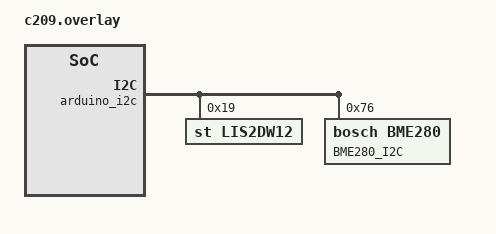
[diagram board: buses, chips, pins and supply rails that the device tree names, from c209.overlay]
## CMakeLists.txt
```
# Copyright 2021 u-blox
# 
# Licensed under the Apache License, Version 2.0 (the "License");
# you may not use this file except in compliance with the License.
# You may obtain a copy of the License at
# 
#  http://www.apache.org/licenses/LICENSE-2.0
# 
# Unless required by applicable law or agreed to in writing, software
# distributed under the License is distributed on an "AS IS" BASIS,
# WITHOUT WARRANTIES OR CONDITIONS OF ANY KIND, either express or implied.
# See the License for the specific language governing permissions and
# limitations under the License.

cmake_minimum_required(VERSION 3.13.1)

list(APPEND DTC_OVERLAY_FILE ${CMAKE_CURRENT_SOURCE_DIR}/c209.overlay)

set(CONF_FILE ${CMAKE_CURRENT_SOURCE_DIR}/prj.conf)
if(DEFINED RELEASE)
  message("RELEASE BUILD")
  add_definitions("-DRELEASE=${RELEASE}")
  list(APPEND CONF_FILE ${CMAKE_CURRENT_SOURCE_DIR}/prj_release.conf)
else()
  message("DEBUG BUILD")
  add_definitions("-DDEBUG=${DEBUG}")
  list(APPEND CONF_FILE ${CMAKE_CURRENT_SOURCE_DIR}/prj_debug.conf)
endif()

if(DEFINED NRF_DFU_BOOT_SUPPORT)
message("NRF_DFU_BOOT_SUPPORT BUILD")
add_definitions("-DNRF_DFU_BOOT_SUPPORT=${NRF_DFU_BOOT_SUPPORT}")
list(APPEND CONF_FILE ${CMAKE_CURRENT_SOURCE_DIR}/prj_dfu_boot.conf)
list(APPEND DTC_OVERLAY_FILE ${CMAKE_CURRENT_SOURCE_DIR}/c209_nrf_boot.overlay)
endif()

if(DEFINED MCUBOOT_BOOT_SUPPORT)
message("MCUBOOT_BOOT_SUPPORT BUILD")
add_definitions("-DMCUBOOT_BOOT_SUPPORT=${MCUBOOT_BOOT_SUPPORT}")
list(APPEND CONF_FILE ${CMAKE_CURRENT_SOURCE_DIR}/ci/testable.conf)
list(APPEND DTC_OVERLAY_FILE ${CMAKE_CURRENT_SOURCE_DIR}/ci/c209_mcuboot.overlay)
endif()

# For applying SDK patches automatically on build.
function(applyGitPatchFiles patchFolder applyDir)
  message("Applying git patches from ${patchFolder} in directory ${applyDir}")
  file(GLOB PATCHES ${patchFolder})
  if (PATCHES)
    message(STATUS "Patches: ${PATCHES}")
    foreach(PATCH ${PATCHES})
      message(STATUS "Applying ${PATCH}")
      execute_process(
        COMMAND git apply -p1 --ignore-whitespace
        WORKING_DIRECTORY "${applyDir}"
        INPUT_FILE "${PATCH}"
        OUTPUT_VARIABLE OUTPUT
        RESULT_VARIABLE RESULT)
      if (RESULT EQUAL 0)
        message(STATUS "Patch applied: ${PATCH}")
      else()
        # Unfortunately although patch will recognise that a patch is already
        # applied it will still return an error.
        execute_process(
          COMMAND git apply -p1 --reverse --check --ignore-whitespace
          WORKING_DIRECTORY "${applyDir}"
          INPUT_FILE "${PATCH}"
          OUTPUT_VARIABLE OUTPUT
          RESULT_VARIABLE RESULT2)
        if (RESULT2 EQUAL 0)
          message(STATUS "Patch was already applied, ignore errors above: ${PATCH}")
        else()
          message(FATAL_ERROR "Error applying patch ${PATCH}")
        endif()
      endif()
    endforeach(PATCH)
  endif()
endfunction()

applyGitPatchFiles("${CMAKE_SOURCE_DIR}/sdk-patches/zephyr/*.patch" "$ENV{ZEPHYR_BASE}/")

find_package(Zephyr HINTS $ENV{ZEPHYR_BASE})
project(direction_finding_beacon)

FILE(GLOB app_sources src/*.c)
target_sources(app PRIVATE ${app_sources})
target_sources(app PRIVATE ubx_version.c)

zephyr_library_include_directories(${ZEPHYR_BASE}/samples/bluetooth)

# Get git commit and  build time and pass it to version_config.h

execute_process(COMMAND
  git describe --always --dirty
  WORKING_DIRECTORY "${CMAKE_SOURCE_DIR}"
  OUTPUT_VARIABLE GIT_SHA1
  ERROR_QUIET OUTPUT_STRIP_TRAILING_WHITESPACE)

string(TIMESTAMP BUILD_TIME "%Y-%d-%m %H:%M")

message("GIT commit: ${GIT_SHA1}")
message("Build time: ${BUILD_TIME}")

add_definitions("-DGIT_SHA1=${GIT_SHA1}")
add_definitions("-DBUILD_TIME=${BUILD_TIME}")

configure_file(version_config.h.in ${CMAKE_BINARY_DIR}/generated/version_config.h)
include_directories( ${CMAKE_BINARY_DIR}/generated/)

target_compile_options(app PRIVATE -Wall -Werror -Wno-stringop-truncationw)
```

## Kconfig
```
# Copyright 2021 u-blox
# 
# Licensed under the Apache License, Version 2.0 (the "License");
# you may not use this file except in compliance with the License.
# You may obtain a copy of the License at
# 
#  http://www.apache.org/licenses/LICENSE-2.0
# 
# Unless required by applicable law or agreed to in writing, software
# distributed under the License is distributed on an "AS IS" BASIS,
# WITHOUT WARRANTIES OR CONDITIONS OF ANY KIND, either express or implied.
# See the License for the specific language governing permissions and
# limitations under the License.

menu "AoA Tag"

endmenu

menu "Zephyr Kernel"
source "Kconfig.zephyr"
endmenu

menu "AoA Tag"
    config SEND_SENSOR_DATA_IN_PER_ADV_DATA
        bool
    prompt "Sensor data in periodic adv data"
    help
        "Send periodic advertising data containing sensor data."
    default n

    config ALLOW_REMOTE_AT_OVER_NUS
        bool
    prompt "Enable AT over NUS"
    select BT_NUS
    default n
    help
        "Add the NUS service and accept AT commands over it."

    config PERIODIC_LED_BLINK
        bool
    prompt "Blink the blue"
    help
        "Periodically blink the blue LED  to indicate tag is running."
    default y

    config EXT_ADV_INT_MS_MIN
        int
    prompt "Minimum extended advertising interval in milliseconds."
    help
        "This is how often extended advertisements are sent, this is a tradeoff in power consumption and how fast/easy it is for the scanner to find the tag and initiate a periodic advertsing sync. to it."
    default 250
    range 32 16384

    config EXT_ADV_INT_MS_MAX
        int
    prompt "Maximum extended advertising interval in milliseconds."
    help
        "This is how often extended advertisements are sent, this is a tradeoff in power consumption and how fast/easy it is for the scanner to find the tag and initiate a periodic advertsing sync. to it."
    default EXT_ADV_INT_MS_MIN
    range EXT_ADV_INT_MS_MIN 16384

    config TESTABLE_BUILD
	    bool
	prompt "Testable build for CI"
	help
		"When enabled, this boolean prevents UART from being
		shut off after 10 seconds of not communicating
		from start. It also disables per. adv. restart each
		10 minutes."
    default n

endmenu

module = APPLICATION_MODULE
module-str = AoA Tag
source "subsys/logging/Kconfig.template.log_config"
```

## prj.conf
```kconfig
# Copyright 2021 u-blox
# 
# Licensed under the Apache License, Version 2.0 (the "License");
# you may not use this file except in compliance with the License.
# You may obtain a copy of the License at
# 
#  http://www.apache.org/licenses/LICENSE-2.0
# 
# Unless required by applicable law or agreed to in writing, software
# distributed under the License is distributed on an "AS IS" BASIS,
# WITHOUT WARRANTIES OR CONDITIONS OF ANY KIND, either express or implied.
# See the License for the specific language governing permissions and
# limitations under the License.

CONFIG_BT_DEVICE_NAME="u-blox C209 DF Tag"
CONFIG_ASSERT=y
CONFIG_BT_ID_MAX=1
CONFIG_BT_CTLR_TX_PWR_PLUS_4=y
CONFIG_BT_CTLR_TX_PWR_DYNAMIC_CONTROL=y

CONFIG_BT=y
CONFIG_BT_MAX_CONN=2
CONFIG_BT_BUF_ACL_RX_SIZE=251
CONFIG_BT_L2CAP_TX_MTU=247

# Extended and periodic advertising
CONFIG_BT_CTLR=y
CONFIG_BT_LL_SW_SPLIT=y

CONFIG_BT_EXT_ADV=y
CONFIG_BT_PER_ADV=y
CONFIG_BT_BROADCASTER=y
CONFIG_BT_PERIPHERAL=y
CONFIG_BT_CTLR_ADV_EXT=y
CONFIG_BT_CTLR_ADV_PERIODIC=y
CONFIG_BT_EXT_ADV_MAX_ADV_SET=2
CONFIG_BT_CTLR_ADV_AUX_SET=2
CONFIG_BT_CTLR_ADV_DATA_CHAIN=y
CONFIG_BT_CTLR_ADV_DATA_LEN_MAX=256

# Enable Direction Finding TX Feature including AoA and AoD
CONFIG_BT_DF=y
CONFIG_BT_CTLR_DF=y
CONFIG_BT_CTLR_DF_ANT_SWITCH_TX=n
CONFIG_BT_CTLR_DF_ANT_SWITCH_RX=n
CONFIG_BT_CTLR_ADVANCED_FEATURES=y
CONFIG_BT_CTLR_ADV_SYNC_PDU_BACK2BACK=y
CONFIG_BT_CTLR_DF_PER_ADV_CTE_NUM_MAX=1

# No external XTAL on C209
CONFIG_CLOCK_CONTROL_NRF_K32SRC_RC=y

CONFIG_MAIN_STACK_SIZE=4096
CONFIG_SYSTEM_WORKQUEUE_STACK_SIZE=4096
CONFIG_BT_RX_STACK_SIZE=2048

CONFIG_NVS=y
CONFIG_FLASH=y
CONFIG_FLASH_PAGE_LAYOUT=y
CONFIG_FLASH_MAP=y
CONFIG_MPU_ALLOW_FLASH_WRITE=y

CONFIG_UART_NRFX=y
CONFIG_UART_ASYNC_API=y
CONFIG_UART_USE_RUNTIME_CONFIGURE=y
CONFIG_SERIAL=y

CONFIG_I2C=y
CONFIG_LIS2DW12=y
CONFIG_BME280=y
CONFIG_GPIO=y
CONFIG_SENSOR=y

CONFIG_PM_DEVICE=y
CONFIG_PM_DEVICE_RUNTIME=y
CONFIG_REBOOT=y

# Application configuration
CONFIG_SEND_SENSOR_DATA_IN_PER_ADV_DATA=n
CONFIG_ALLOW_REMOTE_AT_OVER_NUS=n
CONFIG_PERIODIC_LED_BLINK=y

CONFIG_EXT_ADV_INT_MS_MIN=200
CONFIG_EXT_ADV_INT_MS_MAX=300
```

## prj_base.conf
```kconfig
# Copyright 2021 u-blox
# 
# Licensed under the Apache License, Version 2.0 (the "License");
# you may not use this file except in compliance with the License.
# You may obtain a copy of the License at
# 
#  http://www.apache.org/licenses/LICENSE-2.0
# 
# Unless required by applicable law or agreed to in writing, software
# distributed under the License is distributed on an "AS IS" BASIS,
# WITHOUT WARRANTIES OR CONDITIONS OF ANY KIND, either express or implied.
# See the License for the specific language governing permissions and
# limitations under the License.

CONFIG_BT=y
CONFIG_BT_DEVICE_NAME="C209-AoA-Tag"
CONFIG_BT_LL_SW_SPLIT=y
CONFIG_ASSERT=y
CONFIG_BT_ID_MAX=1
CONFIG_BT_CTLR_TX_PWR_PLUS_4=y
CONFIG_BT_CTLR_TX_PWR_DYNAMIC_CONTROL=y
CONFIG_CLOCK_CONTROL_NRF_K32SRC_RC=y

CONFIG_MAIN_STACK_SIZE=4096
CONFIG_SYSTEM_WORKQUEUE_STACK_SIZE=4096

CONFIG_NVS=y
CONFIG_FLASH=y
CONFIG_FLASH_PAGE_LAYOUT=y
CONFIG_FLASH_MAP=y
CONFIG_MPU_ALLOW_FLASH_WRITE=y

CONFIG_UART_NRFX=y
CONFIG_DEVICE_POWER_MANAGEMENT=y
CONFIG_UART_ASYNC_API=y
CONFIG_SERIAL=y

CONFIG_I2C=y
CONFIG_LIS2DW12=y
CONFIG_BME280=y
CONFIG_GPIO=y
CONFIG_SENSOR=y

CONFIG_ENTROPY_GENERATOR=y
CONFIG_DEVICE_POWER_MANAGEMENT=y

# Build for use with Open Bootloader which is preflashed on NINA-B40X modules
CONFIG_FLASH_BASE_ADDRESS=0x1000
```

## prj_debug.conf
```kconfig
# Copyright 2021 u-blox
#
# Licensed under the Apache License, Version 2.0 (the "License");
# you may not use this file except in compliance with the License.
# You may obtain a copy of the License at
#
#  http://www.apache.org/licenses/LICENSE-2.0
#
# Unless required by applicable law or agreed to in writing, software
# distributed under the License is distributed on an "AS IS" BASIS,
# WITHOUT WARRANTIES OR CONDITIONS OF ANY KIND, either express or implied.
# See the License for the specific language governing permissions and
# limitations under the License.

# SEGGER RTT logging instead of UART
CONFIG_LOG_PRINTK=y
CONFIG_LOG=y
CONFIG_DEBUG_OPTIMIZATIONS=y
CONFIG_USE_SEGGER_RTT=y
CONFIG_RTT_CONSOLE=y
CONFIG_UART_CONSOLE=n
CONFIG_LOG_BACKEND_RTT=y
CONFIG_LOG_BACKEND_UART=n
# End of SEGGER RTT

# This should not be needed but it is for debug builds otherwise in NCS 2.0.0
# we get stack overflows in BT controller.
CONFIG_BT_HCI_TX_STACK_SIZE_WITH_PROMPT=y
CONFIG_BT_HCI_TX_STACK_SIZE=1024
```

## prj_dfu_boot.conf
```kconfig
# Build for use with Open Bootloader which is preflashed on NINA-B40X modules
CONFIG_FLASH_BASE_ADDRESS=0x1000
```

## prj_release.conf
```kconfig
# Copyright 2021 u-blox
# 
# Licensed under the Apache License, Version 2.0 (the "License");
# you may not use this file except in compliance with the License.
# You may obtain a copy of the License at
# 
#  http://www.apache.org/licenses/LICENSE-2.0
# 
# Unless required by applicable law or agreed to in writing, software
# distributed under the License is distributed on an "AS IS" BASIS,
# WITHOUT WARRANTIES OR CONDITIONS OF ANY KIND, either express or implied.
# See the License for the specific language governing permissions and
# limitations under the License.

# SEGGER RTT logging instead of UART
CONFIG_LOG_PRINTK=n
CONFIG_LOG=n
CONFIG_DEBUG_OPTIMIZATIONS=n
CONFIG_USE_SEGGER_RTT=n
CONFIG_RTT_CONSOLE=n
CONFIG_UART_CONSOLE=n
CONFIG_LOG_BACKEND_RTT=n
CONFIG_LOG_BACKEND_UART=n
# End of SEGGER RTT

CONFIG_SPEED_OPTIMIZATIONS=y
CONFIG_RESET_ON_FATAL_ERROR=y
```

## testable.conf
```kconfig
# Copyright 2023 u-blox
# 
# Licensed under the Apache License, Version 2.0 (the "License");
# you may not use this file except in compliance with the License.
# You may obtain a copy of the License at
# 
#  http://www.apache.org/licenses/LICENSE-2.0
# 
# Unless required by applicable law or agreed to in writing, software
# distributed under the License is distributed on an "AS IS" BASIS,
# WITHOUT WARRANTIES OR CONDITIONS OF ANY KIND, either express or implied.
# See the License for the specific language governing permissions and
# limitations under the License.

CONFIG_TESTABLE_BUILD=y
```

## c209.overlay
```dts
&arduino_i2c {
    status = "okay";

    lis2dw12@19 {
		compatible = "st,lis2dw12";
		reg = <0x19>;
		label = "LIS2DW12";
		power-mode = <0>;
	};

	bme280@76 {
		compatible = "bosch,bme280";
		reg = <0x76>;
		label = "BME280_I2C";
	};
};

&pinctrl {
	i2c0_default: i2c0_default {
		group1 {
			psels = <NRF_PSEL(TWIM_SDA, 0, 4)>,
				<NRF_PSEL(TWIM_SCL, 0, 30)>;
		};
	};

	i2c0_sleep: i2c0_sleep {
		group1 {
			psels = <NRF_PSEL(TWIM_SDA, 0, 4)>,
				<NRF_PSEL(TWIM_SCL, 0, 30)>;
			low-power-enable;
		};
	};
};
```

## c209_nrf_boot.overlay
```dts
/* Delete partitions specified on the board dts file */
/delete-node/ &boot_partition;
/delete-node/ &slot0_partition;
/delete-node/ &storage_partition;
/delete-node/ &scratch_partition;
/delete-node/ &slot1_partition;

&flash0 {
	partitions {
		compatible = "fixed-partitions";
		#address-cells = <1>;
		#size-cells = <1>;

		/* Define your partitions here; see below */
		boot_partition: partition@0 {
			label = "mcuboot";
			reg = <0x00000000 0x1000>;
		};
		slot0_partition: partition@1000 {
			label = "image-0";
			reg = <0x00001000 0x6B000>;
		};
		storage_partition: partition@6C000 {
			label = "storage";
			reg = <0x0006C000 0x00004000>;
		};
	};
};

/ {
	chosen {
		zephyr,code-partition = &slot0_partition;
		zephyr,flash = &flash0;
	};
};
```

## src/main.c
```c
/*
 * Copyright 2021 u-blox
 *
 * Licensed under the Apache License, Version 2.0 (the "License");
 * you may not use this file except in compliance with the License.
 * You may obtain a copy of the License at
 *
 *  http://www.apache.org/licenses/LICENSE-2.0
 *
 * Unless required by applicable law or agreed to in writing, software
 * distributed under the License is distributed on an "AS IS" BASIS,
 * WITHOUT WARRANTIES OR CONDITIONS OF ANY KIND, either express or implied.
 * See the License for the specific language governing permissions and
 * limitations under the License.
 */

#include <zephyr/kernel.h>

#include <string.h>
#include <zephyr/bluetooth/bluetooth.h>
#include <zephyr/bluetooth/hci.h>
#include "leds.h"
#include "bt_adv.h"
#include "buttons.h"
#include <zephyr/random/rand32.h>
#include <zephyr/sys/__assert.h>
#include <zephyr/device.h>
#include <zephyr/drivers/sensor.h>
#include "bt_util.h"
#include <zephyr/bluetooth/hci.h>
#include <zephyr/bluetooth/hci_vs.h>
#include <zephyr/sys/byteorder.h>
#include "at_host.h"
#include "storage.h"
#include <zephyr/logging/log.h>
#include "sensors.h"

#if defined(CONFIG_BT_NUS)
#include <bluetooth/services/nus.h>
#endif

LOG_MODULE_REGISTER(app, CONFIG_APPLICATION_MODULE_LOG_LEVEL);

#define BLINK_STACKSIZE         1024
#define BLINK_PRIORITY          7
#define LED_BLINK_INTERVAL_MS   150
#define LOOP_SLEEP_INTERVAL     5000

// In order to avoid accidental collisions between tags we restart adv. every now and then.
// Comment out to disable this.
#ifndef CONFIG_TESTABLE_BUILD
#define ADV_RESTART_INTERVAL    (10 * 60 * 1000) // 10 min
#endif

static void btReadyCb(int err);
static void onButtonPressCb(buttonPressType_t type);
static void setTxPower(uint8_t handleType, uint16_t handle, int8_t txPwrLvl);
static void blink(void);

#if defined(CONFIG_BT_NUS)
static void connected(struct bt_conn *conn, uint8_t err);
static void disconnected(struct bt_conn *conn, uint8_t reason);
static void nus_send_data(char *data);
static void bt_receive_cb(struct bt_conn *conn, const uint8_t *const data, uint16_t len);
BT_CONN_CB_DEFINE(conn_callbacks) = {
    .connected    = connected,
    .disconnected = disconnected,
};
static struct bt_conn *currentConn;
static uint32_t nusMaxSendLen;

static struct bt_nus_cb nus_cb = {
    .received = bt_receive_cb,
};
#endif

static bool isAdvRunning = true;
static uint16_t advIntervals[] = {50, 100, 250, 1000};
static uint8_t advIntervalIndex = 0;
static char *pDefaultGroupNamespace = "NINA-B4TAG";

struct k_timer blinkTimer;
static uint8_t bluetoothReady;
static uint8_t uuid[EDDYSTONE_INSTANCE_ID_LEN];

K_THREAD_DEFINE(blinkThreadId, BLINK_STACKSIZE, blink, NULL, NULL, NULL, BLINK_PRIORITY, 0,
                K_TICKS_FOREVER);

void main(void)
{
    uint8_t randDelayMs;
    bt_addr_le_t addr;

    // If all tags are powered on at once their advertisements may collide.
    // Use a random delay in order to give them some random offset.
    randDelayMs = (uint8_t)(sys_rand32_get() & 0xFF);
    k_msleep(randDelayMs);
    LOG_DBG("Slept %dms", randDelayMs);
    utilGetBtAddr(&addr);
    bluetoothReady = 0;

    storageInit();
    sensorsInit();

    // Only swap public address. It's done like this in u-connect.
    if (addr.type == BT_ADDR_LE_PUBLIC) {
        for (uint8_t i = 0; i < EDDYSTONE_INSTANCE_ID_LEN; i++) {
            uuid[i] = addr.a.val[(EDDYSTONE_INSTANCE_ID_LEN - 1) - i];
        }
    } else {
        memcpy(uuid, addr.a.val, MAC_ADDR_LEN);
    }
    LOG_HEXDUMP_INF(uuid, EDDYSTONE_INSTANCE_ID_LEN, "InstanceId (MAC)");

    atHostStart();

    ledsInit();
    ledsSetState(LED_RED, 0);
    ledsSetState(LED_GREEN, 0);
    ledsSetState(LED_BLUE, 0);

    buttonsInit(&onButtonPressCb);

    __ASSERT(bt_enable(btReadyCb) == 0, "Bluetooth init failed");

#if defined(CONFIG_BT_NUS)
    int err = bt_nus_init(&nus_cb);
    if (err) {
        LOG_ERR("Failed to initialize UART service (err: %d)", err);
        return;
    }
#endif
    k_thread_start(blinkThreadId);
}

static void blink(void)
{
    LOG_INF("Started blink thread");
#ifdef ADV_RESTART_INTERVAL
    uint64_t lastAdvRestartMs = k_uptime_get();
    uint64_t currentTime;
    uint8_t randDelayMs;
#endif
#ifdef CONFIG_SEND_SENSOR_DATA_IN_PER_ADV_DATA
#define NUM_SENSOR_DATA 6
    struct sensor_value temp, press, humidity;
    struct bt_data adData;
    int32_t sensorData[NUM_SENSOR_DATA];
#endif

    while (1) {
#ifdef CONFIG_PERIODIC_LED_BLINK
        if (isAdvRunning) {
            ledsSetState(LED_BLUE, 1);
            k_sleep(K_MSEC(10));
            ledsSetState(LED_BLUE, 0);
        }
#endif
#ifdef ADV_RESTART_INTERVAL
        currentTime = k_uptime_get();
        if (currentTime - lastAdvRestartMs >= ADV_RESTART_INTERVAL) {
            if (isAdvRunning) {
                randDelayMs = (uint8_t)(sys_rand32_get() & 0xFF);
                LOG_INF("Restarting per. adv. to avoid collisions. Delay: %d", randDelayMs);
                btAdvStop();
                k_msleep(randDelayMs);
                btAdvStart();
                lastAdvRestartMs = currentTime;
            }
        }
#endif
#ifdef CONFIG_SEND_SENSOR_DATA_IN_PER_ADV_DATA
        if (isAdvRunning) {
            if (sensorsGetBme280Data(&temp, &press, &humidity)) {
                sensorData[0] = temp.val1;
                sensorData[1] = temp.val2;
                sensorData[2] = press.val1;
                sensorData[3] = press.val2;
                sensorData[4] = humidity.val1;
                sensorData[5] = humidity.val2;
                adData.type = BT_DATA_MANUFACTURER_DATA;
                adData.data = (uint8_t *)sensorData;
                adData.data_len = sizeof(int32_t) * NUM_SENSOR_DATA;
                btAdvSetPerAdvData(&adData, 1);
            }
        }
#endif
        k_msleep(LOOP_SLEEP_INTERVAL);
    }
}


static void btReadyCb(int err)
{
    int8_t txPower = 0;
    __ASSERT(err == 0, "Bluetooth init failed (err %d)", err);
    LOG_INF("Bluetooth initialized");
    bluetoothReady = 1;

    storageGetTxPower(&txPower);
    LOG_INF("Setting TxPower: %d", txPower);
    setTxPower(BT_HCI_VS_LL_HANDLE_TYPE_ADV, 0, txPower);

    btAdvInit(advIntervals[advIntervalIndex], advIntervals[advIntervalIndex], pDefaultGroupNamespace,
              uuid, txPower);
    btAdvStart();
}

static void onButtonPressCb(buttonPressType_t type)
{
    LOG_INF("Pressed, type: %d", type);

    if (type == BUTTONS_SHORT_PRESS) {
        // If stopped, then restart if adv. interval was changed
        isAdvRunning = true;
        advIntervalIndex = (advIntervalIndex + 1) % ARRAY_SIZE(advIntervals);
        uint16_t new_adv_interval = advIntervals[advIntervalIndex];
        LOG_INF("New interval: %d => %d", advIntervalIndex, new_adv_interval);
        btAdvUpdateAdvInterval(new_adv_interval, new_adv_interval);

        // Blink advertising interval index times
        ledsSetState(LED_BLUE, 1);
        for (int i = 0; i < advIntervalIndex + 1; i++) {
            k_sleep(K_MSEC(LED_BLINK_INTERVAL_MS));
            ledsSetState(LED_BLUE, 0);
            k_sleep(K_MSEC(LED_BLINK_INTERVAL_MS));
            ledsSetState(LED_BLUE, 1);
        }
        ledsSetState(LED_BLUE, 0);
    } else {
        isAdvRunning = !isAdvRunning;
        if (isAdvRunning) {
            LOG_INF("Adv started");
            btAdvStart();
        } else {
            LOG_INF("Adv stopped");
            btAdvStop();
        }
    }
}

static void setTxPower(uint8_t handleType, uint16_t handle, int8_t txPwrLvl)
{
    struct bt_hci_cp_vs_write_tx_power_level *cp;
    struct bt_hci_rp_vs_write_tx_power_level *rp;
    struct net_buf *buf, *rsp = NULL;
    int err;

    buf = bt_hci_cmd_create(BT_HCI_OP_VS_WRITE_TX_POWER_LEVEL, sizeof(*cp));
    __ASSERT(buf, "Unable to allocate command buffer");

    cp = net_buf_add(buf, sizeof(*cp));
    cp->handle = sys_cpu_to_le16(handle);
    cp->handle_type = handleType;
    cp->tx_power_level = txPwrLvl;

    err = bt_hci_cmd_send_sync(BT_HCI_OP_VS_WRITE_TX_POWER_LEVEL,
                               buf, &rsp);
    if (err) {
        uint8_t reason = rsp ?
                         ((struct bt_hci_rp_vs_write_tx_power_level *)
                          rsp->data)->status : 0;
        LOG_ERR("Set Tx power err: %d reason 0x%02x", err, reason);
        return;
    }

    rp = (void *)rsp->data;
    LOG_INF("Set Tx Power: %d", rp->selected_tx_power);

    net_buf_unref(rsp);
}

#if defined(CONFIG_BT_NUS)
static void connected(struct bt_conn *conn, uint8_t err)
{
    char addr[BT_ADDR_LE_STR_LEN];

    if (err) {
        LOG_ERR("Connection failed (err %u)", err);
        return;
    }
    currentConn = bt_conn_ref(conn);
    nusMaxSendLen = 20;

    bt_addr_le_to_str(bt_conn_get_dst(conn), addr, sizeof(addr));
    LOG_INF("Connected %s", addr);
}

static void disconnected(struct bt_conn *conn, uint8_t reason)
{
    char addr[BT_ADDR_LE_STR_LEN];

    bt_addr_le_to_str(bt_conn_get_dst(conn), addr, sizeof(addr));

    LOG_INF("Disconnected: %s (reason %u)", addr, reason);

    if (currentConn) {
        bt_conn_unref(currentConn);
    }
}

static void nus_send_data(char *data)
{
    int err = bt_nus_send(currentConn, (uint8_t *)data, strlen(data));
    if (err) {
        LOG_WRN("Failed to send data over BLE connection, err: %d", err);
    }
}

static void bt_receive_cb(struct bt_conn *conn, const uint8_t *const data, uint16_t len)
{
    char addr[BT_ADDR_LE_STR_LEN] = {0};

    bt_addr_le_to_str(bt_conn_get_dst(conn), addr, ARRAY_SIZE(addr));

    LOG_INF("Received data from: %s", addr);

    atHostHandleCommand(data, len, nus_send_data);
}
#endif
```

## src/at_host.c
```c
/*
 * Copyright 2021 u-blox
 *
 * Licensed under the Apache License, Version 2.0 (the "License");
 * you may not use this file except in compliance with the License.
 * You may obtain a copy of the License at
 *
 *  http://www.apache.org/licenses/LICENSE-2.0
 *
 * Unless required by applicable law or agreed to in writing, software
 * distributed under the License is distributed on an "AS IS" BASIS,
 * WITHOUT WARRANTIES OR CONDITIONS OF ANY KIND, either express or implied.
 * See the License for the specific language governing permissions and
 * limitations under the License.
 */

#include "buttons.h"

#include <zephyr/kernel.h>
#include <zephyr/device.h>
#include <string.h>
#include <stdio.h>
#include <stdlib.h>
#include <zephyr/sys/__assert.h>
#include <assert.h>
#include <zephyr/drivers/uart.h>
#include <zephyr/device.h>
#include <zephyr/drivers/sensor.h>
#include <zephyr/pm/pm.h>
#include <zephyr/pm/device.h>
#include <zephyr/sys/reboot.h>
#include "bt_util.h"
#include "storage.h"
#include "version_config.h"
#include <zephyr/logging/log.h>
#include "bt_adv.h"
#include "at_host.h"
#include "sensors.h"

#include <hal/nrf_power.h>

LOG_MODULE_REGISTER(at_host, CONFIG_APPLICATION_MODULE_LOG_LEVEL);

#define UART_RX_BUF_NUM 2
#define UART_RX_LEN     256
#define UART_RX_TIMEOUT 1
#define AT_MAX_CMD_LEN  100
#define OK_STR          "\r\nOK\r\n"
#define ERROR_STR       "\r\nERROR\r\n"

static void resetUartAtBuffer(void);
static void sendString(char *str);

static bool testLis2dw(void);
static bool testBme280(void);
static bool testApds(void);

#ifdef CONFIG_TESTABLE_BUILD
static bool handleFwUpdate();
#endif

static void uartCallback(const struct device *dev, struct uart_event *evt, void *user_data);
static void doCommandWork(struct k_work *work);

static void disableAtUartModeTimerCallback(struct k_timer *unused);
void disableAtUartMode(struct k_work *item);
void restartUartRxAfterError(struct k_work *item);

extern const char ubxVersionString[];

static uint8_t uartRxBuf[UART_RX_BUF_NUM][UART_RX_LEN];
static uint8_t *pNextUartBuf = uartRxBuf[1];

static uint8_t atBuf[AT_MAX_CMD_LEN];
static size_t atBufLen;
static struct k_work handleCommandWork;
static struct k_work cancelUartAtWork;
static struct k_work restartRxWork;
static int uartErr = false;

static const struct device *pUartDev;

static const struct uart_config uart_cfg = {
    .baudrate = 115200,
    .parity = UART_CFG_PARITY_NONE,
    .stop_bits = UART_CFG_STOP_BITS_1,
    .data_bits = UART_CFG_DATA_BITS_8,
    .flow_ctrl = UART_CFG_FLOW_CTRL_NONE
};

K_TIMER_DEFINE(disableAtUartModeTimer, disableAtUartModeTimerCallback, NULL);

int atHostStart(void)
{
    int err;
    uint32_t start_time;

    pUartDev = DEVICE_DT_GET_OR_NULL(DT_NODELABEL(uart0));

    if (!device_is_ready(pUartDev)) {
        LOG_ERR("Cannot get UART device");
        return -EFAULT;
    }

    /* Wait for the UART line to become valid */
    start_time = k_uptime_get_32();
    do {
        err = uart_err_check(pUartDev);
        if (err) {
            if (k_uptime_get_32() - start_time > 1000) {
                LOG_ERR("UART check failed: %d. "
                        "UART initialization timed out.", err);
                return -EIO;
            }
        }
    } while (err);

    err = uart_callback_set(pUartDev, &uartCallback, NULL);
    if (err) {
        LOG_ERR("Cannot set callback: %d", err);
        return -EFAULT;
    }

    pm_device_action_run(pUartDev, PM_DEVICE_ACTION_RESUME);

    err = uart_rx_enable(pUartDev, uartRxBuf[0], sizeof(uartRxBuf[0]), UART_RX_TIMEOUT);
    if (err) {
        LOG_ERR("Cannot enable rx: %d", err);
        return -EFAULT;
    }

    resetUartAtBuffer();

    err = uart_configure(pUartDev, &uart_cfg);

    if (err == 0) {
        k_work_init(&handleCommandWork, doCommandWork);
        k_work_init(&cancelUartAtWork, disableAtUartMode);
        k_work_init(&restartRxWork, restartUartRxAfterError);
#ifndef CONFIG_TESTABLE_BUILD
        k_timer_start(&disableAtUartModeTimer, K_SECONDS(10), K_NO_WAIT);
#endif
    } else {
        LOG_ERR("uart_configure failed: %d", err);
        return -EFAULT;
    }


    return err;
}

void disableAtUartMode(struct k_work *item)
{
    int err;
    LOG_DBG("Exit AT over UART mode, disabling UART\n");
    err = uart_rx_disable(pUartDev);
    if (err) {
        LOG_ERR("disableAtUartMode failed to stop rx, err: %d. Trying to disabe anyway.", err);
    }
    k_sleep(K_MSEC(100));
    err = pm_device_action_run(pUartDev, PM_DEVICE_ACTION_SUSPEND);
    if (err) {
        LOG_ERR("Can't power off uart: %d", err);
    }
}

static void disableAtUartModeTimerCallback(struct k_timer *unused)
{
    // Cannot disable inside of an ISR
    k_work_submit(&cancelUartAtWork);
}

void restartUartRxAfterError(struct k_work *item)
{
    LOG_INF("restartUartRxAfterError");
    int err = 1;
    err = uart_rx_enable(pUartDev, uartRxBuf[0], sizeof(uartRxBuf[0]), UART_RX_TIMEOUT);
    if (err) {
        LOG_ERR("UART RX failed: %d", err);
    }
    resetUartAtBuffer();
}

static void uartRxHandler(uint8_t character)
{
    if (character == '\r' || atBufLen > AT_MAX_CMD_LEN) {
        uart_rx_disable(pUartDev);
        k_work_submit(&handleCommandWork);
    } else {
        atBuf[atBufLen] = character;
        atBufLen += 1;
        uart_poll_out(pUartDev, character);
    }
}

static int validTxPowers(long txPower)
{
    int error = -EINVAL;

    switch (txPower) {
        case -40:
        case -30:
        case -20:
        case -16:
        case -12:
        case -8:
        case -4:
        case 0:
        case 2:
        case 3:
        case 4:
        case 5:
        case 6:
        case 7:
        case 8:
            error = 0;
        default:
            break;
    }

    return error;
}

bool atHostHandleCommand(const uint8_t *const inAtBuf, uint32_t commandLen, atOutput outputRsp)
{
    bool validCommand = true;
    char outBuf[100];
    memset(outBuf, 0, sizeof(outBuf));

    if (strncmp("ATI9", inAtBuf, 4) == 0 && commandLen == 4) {
        sprintf(outBuf, "\r\n\"%s\",\"%s\",\"%s\"\r\n", getGitSha(), getBuildTime(), ubxVersionString);
        outputRsp(outBuf);
        outputRsp("OK\r\n");
    } else if (strncmp("AT+UMLA=1", inAtBuf, 9) == 0 && commandLen == 9) {
        bt_addr_le_t addr;
        char macHex[MAC_ADDR_LEN * 2 + 1];
        uint8_t macSwapped[MAC_ADDR_LEN + 1];
        memset(macHex, 0, sizeof(macHex));
        utilGetBtAddr(&addr);
        if (addr.type == BT_ADDR_LE_PUBLIC) {
            macSwapped[0] = addr.a.val[5];
            macSwapped[1] = addr.a.val[4];
            macSwapped[2] = addr.a.val[3];
            macSwapped[3] = addr.a.val[2];
            macSwapped[4] = addr.a.val[1];
            macSwapped[5] = addr.a.val[0];
        } else {
            memcpy(macSwapped, addr.a.val, MAC_ADDR_LEN);
        }
        bin2hex(macSwapped, MAC_ADDR_LEN, macHex, MAC_ADDR_LEN * 2 + 1);
        utilToupper(macHex);
        sprintf(outBuf, "\r\n+UMLA:%s\r\n", macHex);
        outputRsp(outBuf);
        outputRsp("OK\r\n");
    } else if (strncmp("AT+TEST", inAtBuf, 7) == 0 && commandLen == 7) {
        bool ok = true;
        if (!testLis2dw()) {
            ok = false;
            outputRsp("\r\nLIS_ERROR\r\n");
        }
        if (!testBme280()) {
            ok = false;
            outputRsp("\r\nBME_ERROR\r\n");
        }
        if (!testApds()) {
            ok = false;
            outputRsp("\r\nAPDS_ERROR\r\n");
        }

        if (ok) {
            outputRsp(OK_STR);
        } else {
            outputRsp(ERROR_STR);
        }
    } else if (strncmp("AT", inAtBuf, 2) == 0 && commandLen == 2) {
        outputRsp(OK_STR);
    } else if (strncmp("AT+GMM", inAtBuf, 6) == 0 && commandLen == 6) {
        outputRsp("\r\n\"NINA-B4-TAG\"\r\n");
        outputRsp("OK\r\n");
    } else if (strncmp("AT+CPWROFF", inAtBuf, 10) == 0 && commandLen == 10) {
        outputRsp(OK_STR);
        k_sleep(K_MSEC(200));
        sys_reboot(SYS_REBOOT_WARM);
    } else if (strncmp("AT+TXPWR=", inAtBuf, 9) == 0 && commandLen > 9) {
        errno = 0;
        long power = strtol(&inAtBuf[9], NULL, 10);
        if (errno == 0 && validTxPowers(power) == 0) {
            storageWriteTxPower(power);
            outputRsp(OK_STR);
        } else {
            validCommand = false;
            outputRsp(ERROR_STR);
        }
    } else if (strncmp("AT+TXPWR?", inAtBuf, 9) == 0 && commandLen == 9) {
        int8_t pwr;
        storageGetTxPower(&pwr);
        sprintf(outBuf, "\r\n+TXPWR:%d", pwr);
        outputRsp(outBuf);
        outputRsp(OK_STR);
    }  else if (strncmp("AT+ADVENABLE=", inAtBuf, 9) == 0 && commandLen > 13) {
        errno = 0;
        long enable = strtol(&inAtBuf[13], NULL, 10);
        if (errno == 0) {
            if (enable == 0) {
                btAdvStop();
                outputRsp(OK_STR);
            } else if (enable == 1) {
                btAdvStart();
                outputRsp(OK_STR);
            } else {
                outputRsp(ERROR_STR);
                validCommand = false;
            }
        } else {
            outputRsp(ERROR_STR);
        }

    } else if (strncmp("AT+ADVINT=", inAtBuf, 9) == 0 && commandLen > 9) {
        errno = 0;
        long advInt = strtol(&inAtBuf[10], NULL, 10);
        if (errno == 0) {
            if (!btAdvUpdateAdvInterval(advInt, advInt)) {
                validCommand = false;
            }
        } else {
            validCommand = false;
        }
        if (validCommand) {
            outputRsp(OK_STR);
        } else {
            outputRsp(ERROR_STR);
        }
    } else if (strncmp("AT+UFWUPD", inAtBuf, 9) == 0) {
#ifdef CONFIG_TESTABLE_BUILD
        errno = 0;
        if (errno == 0) {
            if (!handleFwUpdate()) {
                validCommand = false;
            }
        } else {
            validCommand = true;
            outputRsp("OK\r\n");
        }
#endif
    } else {
        validCommand = false;
        outputRsp(ERROR_STR);
    }

    return validCommand;
}

static void doCommandWork(struct k_work *work)
{
    int err;
    int commandLen;
    bool validCommand = true;

    atBuf[MIN(atBufLen, AT_MAX_CMD_LEN - 1)] = 0;
    commandLen = strlen(atBuf);

    validCommand = atHostHandleCommand(atBuf, commandLen, sendString);

    if (validCommand) {
        k_timer_stop(&disableAtUartModeTimer);
    }

    resetUartAtBuffer();

    err = 1;
    while (err) {
        err = uart_rx_enable(pUartDev, uartRxBuf[0], sizeof(uartRxBuf[0]), UART_RX_TIMEOUT);
        if (err) {
            LOG_ERR("UART RX failed: %d", err);
        }
        k_sleep(K_MSEC(5));
    }
}

static void uartCallback(const struct device *dev, struct uart_event *evt, void *user_data)
{
    int err;
    static uint16_t pos;

    ARG_UNUSED(user_data);

    switch (evt->type) {
        case UART_TX_DONE:
            break;
        case UART_TX_ABORTED:
            break;
        case UART_RX_RDY:
            for (int i = pos; i < (pos + evt->data.rx.len); i++) {
                uartRxHandler(evt->data.rx.buf[i]);
            }
            pos += evt->data.rx.len;
            break;
        case UART_RX_BUF_REQUEST:
            pos = 0;
            err = uart_rx_buf_rsp(pUartDev, pNextUartBuf, sizeof(uartRxBuf[0]));
            if (err) {
                LOG_ERR("UART RX buf rsp: %d", err);
            }
            break;
        case UART_RX_BUF_RELEASED:
            pNextUartBuf = evt->data.rx_buf.buf;
            break;
        case UART_RX_STOPPED:
            uartErr = evt->data.rx_stop.reason;
            break;
        case UART_RX_DISABLED:
            if (uartErr != 0) {
                uartErr = 0;
                k_work_submit(&restartRxWork);
            }
            break;
        default:
            break;
    }
}

static void resetUartAtBuffer(void)
{
    memset(atBuf, 0, sizeof(atBuf));
    atBufLen = 0;
}

static void sendString(char *str)
{
    for (int i = 0; i < strlen(str); i++) {
        uart_poll_out(pUartDev, str[i]);
    }
}

static bool testLis2dw(void)
{
    int16_t x;
    int16_t y;
    int16_t z;

    return sensorsGetLis2dw12(&x, &y, &z);
}

static bool testBme280(void)
{
    struct sensor_value temp, press, humidity;
    return sensorsGetBme280Data(&temp, &press, &humidity);
}

static bool testApds(void)
{
    return sensorsDetectApds();
}

#ifdef CONFIG_TESTABLE_BUILD
static bool handleFwUpdate()
{
    // Internal to u-blox MCUBoot fork.
    // 13 == 1mbit baudrate
    int baudrateIndex = 13;
    nrf_power_gpregret_set(NRF_POWER, 1, 0x80 | (baudrateIndex & 0xf));
    k_sleep(K_MSEC(200));
    sys_reboot(SYS_REBOOT_COLD);
    return true;
}
#endif
```

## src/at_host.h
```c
/*
 * Copyright 2021 u-blox
 *
 * Licensed under the Apache License, Version 2.0 (the "License");
 * you may not use this file except in compliance with the License.
 * You may obtain a copy of the License at
 *
 *  http://www.apache.org/licenses/LICENSE-2.0
 *
 * Unless required by applicable law or agreed to in writing, software
 * distributed under the License is distributed on an "AS IS" BASIS,
 * WITHOUT WARRANTIES OR CONDITIONS OF ANY KIND, either express or implied.
 * See the License for the specific language governing permissions and
 * limitations under the License.
 */

#ifndef __AT_HOST_H
#define __AT_HOST_H

typedef void (*atOutput)(char* str);

/**
 * @brief   Init the test and configuration UART interface.
 * @details Enables the UART and initializes the command parser. Configuration and test AT commands will be responded to.
 *          If no valid command is sent within the first 10 seconds the UART will be disabled and no commands accepted.
 *          Once a valid AT command is sent the module, it will stay in test/configuration mode until reset, no 10 seconds limit.
 */
int atHostStart(void);

/**
 * @brief   Input an AT command to the AT command handler.
 * @details Must be a full AT command as fragmented AT commands are not supported.
 *          If it was a valid AT command it will be handled accordingly.
 * 
 * @param   inAtBuf     pointer to the full AT command
 * @param   commandLen  The length of inAtBuf
 * @param   output      Function where the output from AT command handler will be sent. May be called multiple times.
 *                       Will not be called after atHostHandleCommand function exits.
 */
bool atHostHandleCommand(const uint8_t *const inAtBuf, uint32_t commandLen, atOutput output);

#endif
```

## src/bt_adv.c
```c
/*
 * Copyright 2021 u-blox
 *
 * Licensed under the Apache License, Version 2.0 (the "License");
 * you may not use this file except in compliance with the License.
 * You may obtain a copy of the License at
 *
 *  http://www.apache.org/licenses/LICENSE-2.0
 *
 * Unless required by applicable law or agreed to in writing, software
 * distributed under the License is distributed on an "AS IS" BASIS,
 * WITHOUT WARRANTIES OR CONDITIONS OF ANY KIND, either express or implied.
 * See the License for the specific language governing permissions and
 * limitations under the License.
 */

#include "bt_adv.h"
#include <zephyr/bluetooth/bluetooth.h>
#include <zephyr/bluetooth/hci.h>
#include <zephyr/sys/__assert.h>
#include <zephyr/logging/log.h>

#include <zephyr/bluetooth/bluetooth.h>
#include <zephyr/bluetooth/hci.h>
#include <zephyr/bluetooth/direction.h>
#include <zephyr/sys/byteorder.h>
#include <zephyr/sys/util.h>

#if defined(CONFIG_BT_NUS)
#include <bluetooth/services/nus.h>
#endif

LOG_MODULE_REGISTER(bt_adv_aoa, LOG_LEVEL_DBG);

/* Length of CTE in unit of 8[us] */
#define CTE_LEN (0x14U)

/* Number of CTE send in single periodic advertising train
* Tradeoff with power consumption for the tag and
* number of samples received at anchor.
*/
#define PER_ADV_EVENT_CTE_COUNT 1

// Offsets of the different data in bt_data ad[] below
#define ADV_DATA_OFFSET_NAMESPACE   4
#define ADV_DATA_OFFSET_INSTANCE    14
#define ADV_DATA_OFFSET_TX_POWER    3

static struct bt_le_adv_param param =
// Below intervals are a tradeoff between power consumption and the time
// it takes for the scanner to start tracking this tag. Set it accordingly.
    BT_LE_ADV_PARAM_INIT(BT_LE_ADV_OPT_EXT_ADV |
                         BT_LE_ADV_OPT_USE_NAME,
                         CONFIG_EXT_ADV_INT_MS_MIN / 0.625,
                         CONFIG_EXT_ADV_INT_MS_MAX / 0.625,
                         NULL);

#if defined(CONFIG_BT_NUS)
static struct bt_le_adv_param param_nus =
    BT_LE_ADV_PARAM_INIT(BT_LE_ADV_OPT_USE_NAME | BT_LE_ADV_OPT_CONNECTABLE,
                         BT_GAP_ADV_SLOW_INT_MIN,
                         BT_GAP_ADV_SLOW_INT_MAX,
                         NULL);

static const struct bt_data ad_nus[] = {
    BT_DATA_BYTES(BT_DATA_FLAGS, (BT_LE_AD_GENERAL | BT_LE_AD_NO_BREDR)),
    BT_DATA_BYTES(BT_DATA_UUID128_ALL, BT_UUID_NUS_VAL),
};
#endif

static struct bt_le_ext_adv_start_param ext_adv_start_param = {
    .timeout = 0,
    .num_events = 0,
};

struct bt_df_adv_cte_tx_param cte_params = { .cte_len = CTE_LEN,
           .cte_count = PER_ADV_EVENT_CTE_COUNT,
           .cte_type = BT_DF_CTE_TYPE_AOA,
           .num_ant_ids = 0,
           .ant_ids = NULL
};

static struct bt_data ad[] = {
    BT_DATA_BYTES(BT_DATA_FLAGS, BT_LE_AD_NO_BREDR),
    BT_DATA_BYTES(BT_DATA_UUID16_ALL, 0xaa, 0xfe),
    BT_DATA_BYTES(BT_DATA_SVC_DATA16,
                  0xaa, 0xfe, /* Eddystone UUID */
                  0x00, /* Eddystone-UID frame type */
                  0x00, /* TX Power */
                  'N', 'I', 'N', 'A', '-', 'B', '4', 'T', 'A', 'G', /* Namespace placeholder, will be replaced in init */
                  'i', 'n', 's', 't', 'a', 'e', /* Instance Id placeholder, will be replaced in init */
                  0x00, /* reserved */
                  0x00 /* reserved */
                 )
};

static struct bt_le_ext_adv *adv_set;
static uint16_t minAdvInterval;
static uint16_t maxAdvInterval;
static bool advRunning;

void btAdvInit(uint16_t min_int, uint16_t max_int, uint8_t *namespace, uint8_t *instance_id,
               int8_t txPower)
{
    minAdvInterval = min_int / 1.25;
    maxAdvInterval = max_int / 1.25;
    advRunning = false;

    memcpy((uint8_t *)&ad[2].data[ADV_DATA_OFFSET_NAMESPACE], namespace, EDDYSTONE_NAMESPACE_LENGFTH);
    memcpy((uint8_t *)&ad[2].data[ADV_DATA_OFFSET_INSTANCE], instance_id, EDDYSTONE_INSTANCE_ID_LEN);
    memcpy((uint8_t *)&ad[2].data[ADV_DATA_OFFSET_TX_POWER], &txPower, sizeof(txPower));

    LOG_INF("Create ext. adv...");
    int err = bt_le_ext_adv_create(&param, NULL, &adv_set);
    if (err) {
        LOG_ERR("failed (err %d)\n", err);
        return;
    }
    LOG_INF("success\n");

    LOG_INF("Set ext adv data...");
    err = bt_le_ext_adv_set_data(adv_set, ad, ARRAY_SIZE(ad), NULL, 0);
    if (err) {
        LOG_ERR("Failed setting ext adv data: %d\n", err);
    }
    LOG_INF("success\n");

    LOG_INF("Update CTE params...");
    err = bt_df_set_adv_cte_tx_param(adv_set, &cte_params);
    if (err) {
        LOG_ERR("failed (err %d)\n", err);
        return;
    }
    LOG_INF("success\n");

    LOG_INF("Periodic advertising params set...");
    struct bt_le_per_adv_param per_adv_param = {
        .interval_min = minAdvInterval,
        .interval_max = maxAdvInterval,
        .options = BT_LE_ADV_OPT_USE_TX_POWER,
    };
    err = bt_le_per_adv_set_param(adv_set, &per_adv_param);
    if (err) {
        LOG_ERR("failed (err %d)\n", err);
        return;
    }
    LOG_INF("success\n");

    LOG_INF("Enable CTE...");
    err = bt_df_adv_cte_tx_enable(adv_set);
    if (err) {
        LOG_ERR("failed (err %d)\n", err);
        return;
    }
    LOG_INF("success\n");
#if defined(CONFIG_BT_NUS)
    LOG_INF("Legacy advertising NUS enable...");
    err = bt_le_adv_start(&param_nus, ad_nus, ARRAY_SIZE(ad_nus), NULL, 0);
    if (err) {
        LOG_ERR("Advertising failed to start (err %d)\n", err);
        return;
    }
#endif
    LOG_INF("success\n");
}

void btAdvStart(void)
{
    if (advRunning) {
        LOG_WRN("Periodic adv. already running");
        return;
    }
    LOG_INF("Periodic advertising enable...");
    int err = bt_le_per_adv_start(adv_set);
    if (err) {
        LOG_ERR("failed (err %d)\n", err);
        return;
    }
    LOG_INF("success\n");

    LOG_INF("Extended advertising enable...");
    err = bt_le_ext_adv_start(adv_set, &ext_adv_start_param);
    if (err) {
        LOG_ERR("failed (err %d)\n", err);
        return;
    }
    advRunning = true;
    LOG_INF("success\n");
}

void btAdvStop(void)
{
    if (!advRunning) {
        LOG_WRN("Periodic adv. already stopped");
        return;
    }
    __ASSERT_NO_MSG(0 == bt_le_per_adv_stop(adv_set));
    __ASSERT_NO_MSG(0 == bt_le_ext_adv_stop(adv_set));
    LOG_INF("Adv stopped");
    advRunning = false;
}

bool btAdvUpdateAdvInterval(uint16_t min, uint16_t max)
{
    minAdvInterval = min / 1.25;
    maxAdvInterval = max / 1.25;
    btAdvStop();
    struct bt_le_per_adv_param per_adv_param = {
        .interval_min = minAdvInterval,
        .interval_max = maxAdvInterval,
        .options = BT_LE_ADV_OPT_USE_TX_POWER,
    };
    int err = bt_le_per_adv_set_param(adv_set, &per_adv_param);
    if (err) {
        LOG_ERR("failed (err %d)\n", err);
    }
    LOG_INF("success\n");
    btAdvStart();

    return err == 0;
}

void btAdvSetPerAdvData(struct bt_data *data, int len)
{
    LOG_INF("Set per adv data...");
    int err = bt_le_per_adv_set_data(adv_set, data, len);
    if (err) {
        LOG_ERR("failed (err %d)\n", err);
        return;
    }
}
```

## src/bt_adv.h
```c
/*
 * Copyright 2021 u-blox
 *
 * Licensed under the Apache License, Version 2.0 (the "License");
 * you may not use this file except in compliance with the License.
 * You may obtain a copy of the License at
 *
 *  http://www.apache.org/licenses/LICENSE-2.0
 *
 * Unless required by applicable law or agreed to in writing, software
 * distributed under the License is distributed on an "AS IS" BASIS,
 * WITHOUT WARRANTIES OR CONDITIONS OF ANY KIND, either express or implied.
 * See the License for the specific language governing permissions and
 * limitations under the License.
 */

#ifndef __BT_ADV_H
#define __BT_ADV_H

#include <zephyr/kernel.h>
#include <zephyr/bluetooth/bluetooth.h>

#define EDDYSTONE_INSTANCE_ID_LEN   6
#define EDDYSTONE_NAMESPACE_LENGFTH 10

/**
 * @brief   Init BT advertising
 * @details Initializes advertising, but does not start it.
 *
 * @param   min_int         Min adv. interval in milliseconds
 * @param   max_int         Max adv. interval in milliseconds
 * @param   namespace       Pointer to the namespace to be sent in Eddystone beacon.
 * @param   instance_id     Pointer to the instance ID to be sent in Eddystone beacon.
 * @param   txPower         The TX power put in advertising data
 */
void btAdvInit(uint16_t min_int, uint16_t max_int, uint8_t *namespace, uint8_t *instance_id,
               int8_t txPower);

/**
 * @brief   Start BT advertising
 * @details Start advertising, will not stop until stop function called.
 */
void btAdvStart(void);

/**
 * @brief   Stop BT advertising
 * @details Stop advertising, call btAdvStart to enable advertising again.
 */
void btAdvStop(void);

/**
 * @brief   Change the advertsing interval
 * @details Change the advertising interval, advertsing will be stopped and restarted with the new interval.
 *
 * @param   min_int         Min adv. interval in milliseconds
 * @param   max_int         Max adv. interval in milliseconds
 *
 * @return                  True if success, false otherwise.
 */
bool btAdvUpdateAdvInterval(uint16_t min, uint16_t max);

/**
 * @brief Set or update the periodic advertising data.
 *
 * Advertising must be initialized before calling.
 *
 * @param ad        Advertising data.
 * @param ad_len    Advertising data length.
 *
 */
void btAdvSetPerAdvData(struct bt_data *data, int len);

#endif
```

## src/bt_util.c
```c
/*
 * Copyright 2021 u-blox
 *
 * Licensed under the Apache License, Version 2.0 (the "License");
 * you may not use this file except in compliance with the License.
 * You may obtain a copy of the License at
 *
 *  http://www.apache.org/licenses/LICENSE-2.0
 *
 * Unless required by applicable law or agreed to in writing, software
 * distributed under the License is distributed on an "AS IS" BASIS,
 * WITHOUT WARRANTIES OR CONDITIONS OF ANY KIND, either express or implied.
 * See the License for the specific language governing permissions and
 * limitations under the License.
 */

#include "bt_util.h"
#include <zephyr/kernel.h>
#include <string.h>
#include <ctype.h>

#define EMPTY_REGISTER  0xFFFFFFFF

void utilGetBtAddr(bt_addr_le_t *addr)
{
    if (NRF_UICR->CUSTOMER[0] != EMPTY_REGISTER || NRF_UICR->CUSTOMER[1] != EMPTY_REGISTER) {
        addr->a.val[0] = (uint8_t)(NRF_UICR->CUSTOMER[1] >> 8);
        addr->a.val[1] = (uint8_t)NRF_UICR->CUSTOMER[1];
        addr->a.val[2] = (uint8_t)(NRF_UICR->CUSTOMER[0] >> 24);
        addr->a.val[3] = (uint8_t)(NRF_UICR->CUSTOMER[0] >> 16);
        addr->a.val[4] = (uint8_t)(NRF_UICR->CUSTOMER[0] >> 8);
        addr->a.val[5] = (uint8_t)NRF_UICR->CUSTOMER[0];

        addr->type = BT_ADDR_LE_PUBLIC;
    } else {
        *((uint8_t *)addr->a.val + 0) = (uint8_t)((NRF_FICR->DEVICEADDR[1] >> 8) | 0xC0);
        *((uint8_t *)addr->a.val + 1) = (uint8_t)NRF_FICR->DEVICEADDR[1];
        *((uint8_t *)addr->a.val + 2) = (uint8_t)(NRF_FICR->DEVICEADDR[0] >> 24);
        *((uint8_t *)addr->a.val + 3) = (uint8_t)(NRF_FICR->DEVICEADDR[0] >> 16);
        *((uint8_t *)addr->a.val + 4) = (uint8_t)(NRF_FICR->DEVICEADDR[0] >> 8);
        *((uint8_t *)addr->a.val + 5) = (uint8_t)(NRF_FICR->DEVICEADDR[0]);
        addr->type = BT_ADDR_LE_RANDOM;
    }
}

void utilToupper(char *str)
{
    int len = strlen(str);

    for (int i = 0; i < len; i++) {
        str[i] = toupper(str[i]);
    }
}
```

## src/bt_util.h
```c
/*
 * Copyright 2021 u-blox
 *
 * Licensed under the Apache License, Version 2.0 (the "License");
 * you may not use this file except in compliance with the License.
 * You may obtain a copy of the License at
 *
 *  http://www.apache.org/licenses/LICENSE-2.0
 *
 * Unless required by applicable law or agreed to in writing, software
 * distributed under the License is distributed on an "AS IS" BASIS,
 * WITHOUT WARRANTIES OR CONDITIONS OF ANY KIND, either express or implied.
 * See the License for the specific language governing permissions and
 * limitations under the License.
 */

#ifndef _U_UTIL_H_
#define _U_UTIL_H_

#include <stdbool.h>
#include <stdint.h>
#include <zephyr/bluetooth/addr.h>

#define MAC_ADDR_LEN 6

/*
* Get local BT MAC address. Returns customer address if set in UICR, otherwise NRF address.
*/
void utilGetBtAddr(bt_addr_le_t *addr);

/**
 * @brief Change all lower case letters in string to upper.
 */
void utilToupper(char *str);
#endif
```
